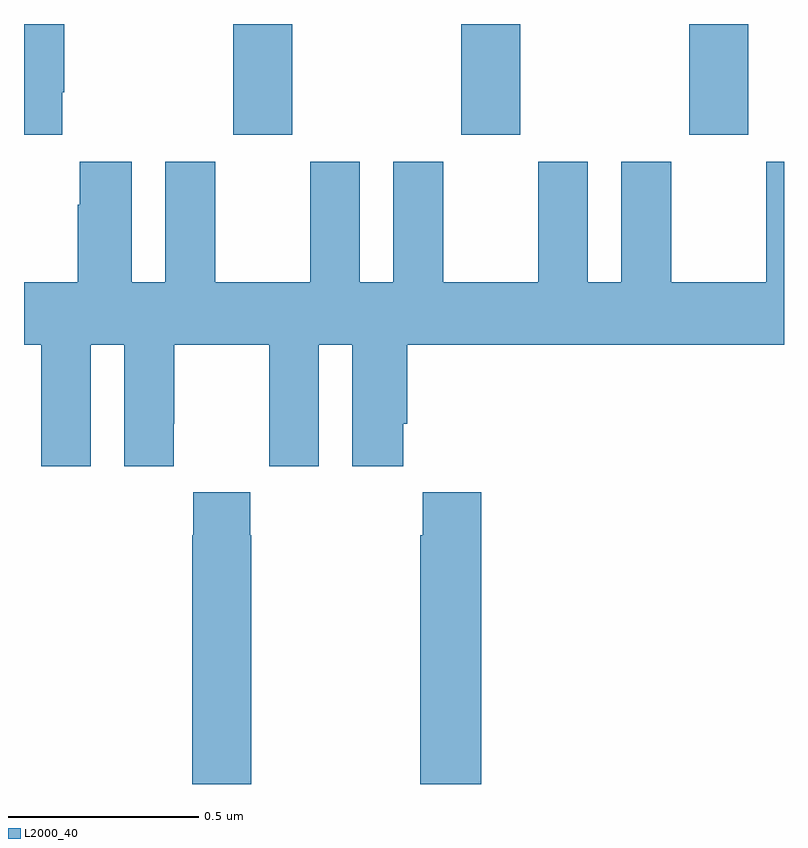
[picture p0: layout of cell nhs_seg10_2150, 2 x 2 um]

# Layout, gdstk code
import gdstk
lib = gdstk.Library(unit=1e-6, precision=1e-09)
def R(c, l, rs):  # rectangles x0, y0, x1, y1
    for r in rs: c.add(gdstk.rectangle(r[:2], r[2:], *l))
def A(c, l, x, y, w, h, nx, ny, dx, dy):  # array of equal rectangles
    R(c, l, [(x+i*dx, y+j*dy, x+i*dx+w, y+j*dy+h) for i in range(nx) for j in range(ny)])
def P(c, l, *ps):  # polygons
    for p in ps: c.add(gdstk.Polygon(p, *l))
L2000_40 = (2000, 40)

nhs_seg10_2150 = lib.new_cell('nhs_seg10_2150')
A(nhs_seg10_2150, L2000_40, 137.551, 1294.209, 0.155, 0.291, 3, 1, 0.6, 0)
P(nhs_seg10_2150, L2000_40, [(137.101,1294.321),(137.106,1294.321),(137.106,1294.5),(137,1294.5),(137,1294.209),(137.101,1294.209)],
  [(137.176,1293.656),(137.264,1293.656),(137.264,1293.336),(137.394,1293.336),(137.394,1293.448),(137.395,1293.448),(137.395,1293.656),(137.645,1293.656),(137.645,1293.448),(137.646,1293.448),(137.646,1293.336),(137.776,1293.336),(137.776,1293.656),(137.864,1293.656),(137.864,1293.336),(137.998,1293.336),(137.998,1293.448),(138.008,1293.448),(138.008,1293.656),(139,1293.656),(139,1294.138),(138.953,1294.138),(138.953,1293.82),(138.703,1293.82),(138.703,1294.138),(138.572,1294.138),(138.572,1293.82),(138.484,1293.82),(138.484,1294.138),(138.353,1294.138),(138.353,1293.82),(138.103,1293.82),(138.103,1294.138),(137.972,1294.138),(137.972,1293.82),(137.884,1293.82),(137.884,1294.138),(137.753,1294.138),(137.753,1293.82),(137.503,1293.82),(137.503,1294.138),(137.372,1294.138),(137.372,1293.82),(137.284,1293.82),(137.284,1294.138),(137.147,1294.138),(137.147,1294.025),(137.141,1294.025),(137.141,1293.82),(137,1293.82),(137,1293.656),(137.045,1293.656),(137.045,1293.448),(137.046,1293.448),(137.046,1293.336),(137.176,1293.336)],
  [(137.598,1293.155),(137.595,1293.155),(137.595,1293.268),(137.445,1293.268),(137.445,1293.155),(137.443,1293.155),(137.443,1292.5),(137.598,1292.5)],
  [(138.203,1293.268),(138.049,1293.268),(138.049,1293.155),(138.043,1293.155),(138.043,1292.5),(138.203,1292.5)])

lib.write_gds('nhs_seg10_2150.gds')
